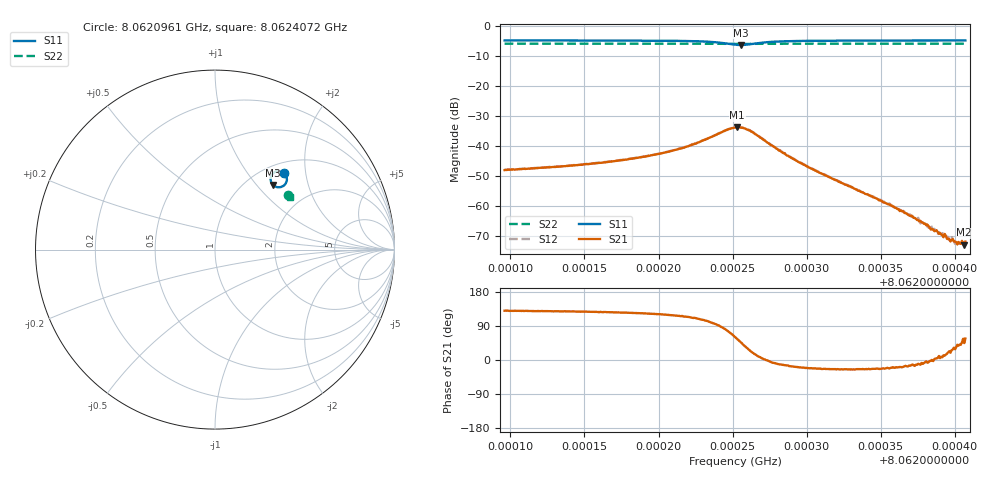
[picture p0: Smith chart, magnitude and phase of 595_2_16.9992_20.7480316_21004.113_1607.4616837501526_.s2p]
#  HZ  S  RI  R  50.00
! Rohde & Schwarz Vector Network Analyzer
! Rohde-Schwarz,ZNB20-2Port,1311601062101988,3.16
! Created: UTC 3/20/2024, 11:18:47 PM
! freq[Hz]  re:S11  im:S11  re:S21  im:S21  re:S12  im:S12  re:S22  im:S22
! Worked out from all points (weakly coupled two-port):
!   401 points, 8.0620961 GHz to 8.0624072 GHz, reference 50 ohm
!   highest |S21| = -33.65 dB at 8.0622532 GHz (marker M1); lowest = -72.7 dB at 8.0624065 GHz (marker M2)
!   lowest |S11| = -6.3 dB at 8.0622555 GHz (marker M3), VSWR 2.88, Z = 65.3 + j61.3 ohm
!   |S11| at or under -10 dB: nowhere
!   |S22| runs from -5.9 to -5.9 dB; largest |S21 - S12| = 0.0013
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8.06209608e9  0.3837 0.4295  -0.00258 0.00307  -0.00239 0.00328  0.4066 0.3061
8.0621482e9  0.3892 0.4235  -0.00301 0.00388  -0.00281 0.00415  0.4085 0.3033
8.06217776e9  0.3932 0.4179  -0.00344 0.0049  -0.00316 0.00519  0.4095 0.3016
8.06220031e9  0.3972 0.4102  -0.00384 0.0064  -0.00347 0.00667  0.4102 0.3001
8.06221898e9  0.4003 0.3978  -0.00404 0.009  -0.0035 0.00928  0.4108 0.2986
8.06223921e9  0.3916 0.3654  -0.001 0.0155  -0.000163 0.0157  0.4107 0.2964
8.06225166e9  0.3439 0.3485  0.01 0.0179  0.011 0.0175  0.4089 0.2957
8.06225321e9  0.3355 0.3516  0.0119 0.0171  0.0127 0.0165  0.4084 0.2959
8.06225555e9  0.324 0.3596  0.0141 0.0149  0.015 0.0143  0.4082 0.2963
8.06226255e9  0.31 0.395  0.0163 0.00664  0.0169 0.0059  0.4083 0.2977
8.06227344e9  0.3278 0.4286  0.0115 -0.000214  0.0118 -0.00101  0.4099 0.2985
8.06228744e9  0.3499 0.4375  0.00675 -0.00175  0.00661 -0.00227  0.4116 0.2979
8.06230378e9  0.3636 0.4371  0.00389 -0.00157  0.00383 -0.00185  0.4127 0.2968
8.06235589e9  0.3801 0.4311  0.000991 -0.000403  0.00102 -0.000461  0.4149 0.2939
8.06237379e9  0.3828 0.4293  0.000607 -0.000133  0.000611 -0.000185  0.4156 0.2929
8.06238001e9  0.3837 0.4287  0.000509 -5.54e-05  0.00051 -0.000102  0.4158 0.2925
8.06238545e9  0.3844 0.4282  0.000412 -2e-05  0.000409 -6.14e-05  0.4161 0.2923
8.06238934e9  0.385 0.4279  0.000345 6.51e-05  0.00037 4.95e-05  0.4163 0.2919
8.06239635e9  0.3857 0.4272  0.000263 0.000113  0.000262 9.03e-05  0.4164 0.2915
8.06240257e9  0.3865 0.4269  0.000203 0.000157  0.000203 0.000139  0.4167 0.2913
8.06240646e9  0.3868 0.4265  0.000164 0.000162  0.000156 0.000169  0.4168 0.291
8.06240724e9  0.3869 0.4265  0.000143 0.000217  0.000137 0.000177  0.4169 0.291
